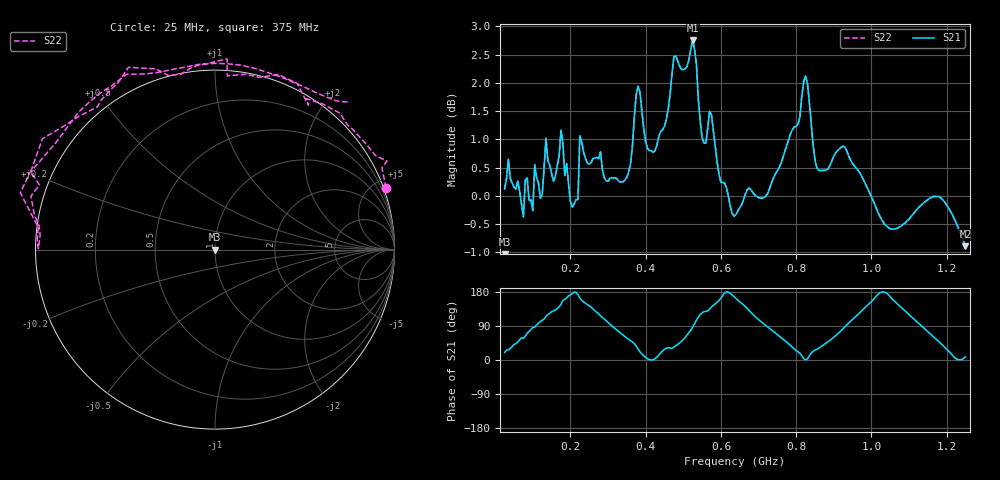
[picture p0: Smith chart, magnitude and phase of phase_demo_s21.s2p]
!Created with skrf (http://scikit-rf.org).
# Hz S RI R 50.0
!freq ReS11 ImS11 ReS21 ImS21 ReS12 ImS12 ReS22 ImS22
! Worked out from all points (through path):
!   246 points, 25 MHz to 1.25 GHz, reference 50 ohm
!   highest |S21| = 2.75 dB at 525 MHz (marker M1); lowest = -0.9 dB at 1.25 GHz (marker M2)
!   lowest |S11| = - dB at 25 MHz (marker M3), VSWR 1.00, Z = 50 + j0 ohm
!   |S11| at or under -10 dB: start of sweep to end of sweep
!   |S22| runs from -0.9 to 2.8 dB; largest |S21 - S12| = 1.4
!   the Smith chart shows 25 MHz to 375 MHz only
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2.5e7  0 0  0.9536 0.3444  0 0  0.9536 0.3444
1.05e8  0 0  0.0673 1.063  0 0  0.0673 1.063
1.8e8  0 0  -1.027 0.4327  0 0  -1.027 0.4327
2.1e8  0 0  -0.984 0.00532  0 0  -0.984 0.00532
2.3e8  0 0  -1.03 0.4323  0 0  -1.03 0.4323
3.15e8  0 0  0.0718 1.035  0 0  0.0718 1.035
3.85e8  0 0  1.148 0.4541  0 0  1.148 0.4541
4.35e8  0 0  1.1 0.2519  0 0  1.1 0.2519
4.8e8  0 0  1.057 0.8085  0 0  1.057 0.8085
5.25e8  0 0  0.0824 1.37  0 0  0.0824 1.37
5.75e8  0 0  -0.9002 0.7613  0 0  -0.9002 0.7613
6.15e8  0 0  -1.016 0.000177  0 0  -1.016 0.000177
6.4e8  0 0  -0.919 0.2869  0 0  -0.919 0.2869
7.3e8  0 0  0.1173 1.009  0 0  0.1173 1.009
8.25e8  0 0  1.276 0.000223  0 0  1.276 0.000223
8.45e8  0 0  1.023 0.4309  0 0  1.023 0.4309
9.3e8  0 0  0.0397 1.103  0 0  0.0397 1.103
9.9e8  0 0  -0.8279 0.5873  0 0  -0.8279 0.5873
1.025e9  0 0  -0.9558 0.0245  0 0  -0.9558 0.0245
1.05e9  0 0  -0.9126 0.2055  0 0  -0.9126 0.2055
1.14e9  0 0  0.1 0.9812  0 0  0.1 0.9812
1.25e9  0 0  0.8927 0.1333  0 0  0.8927 0.1333
